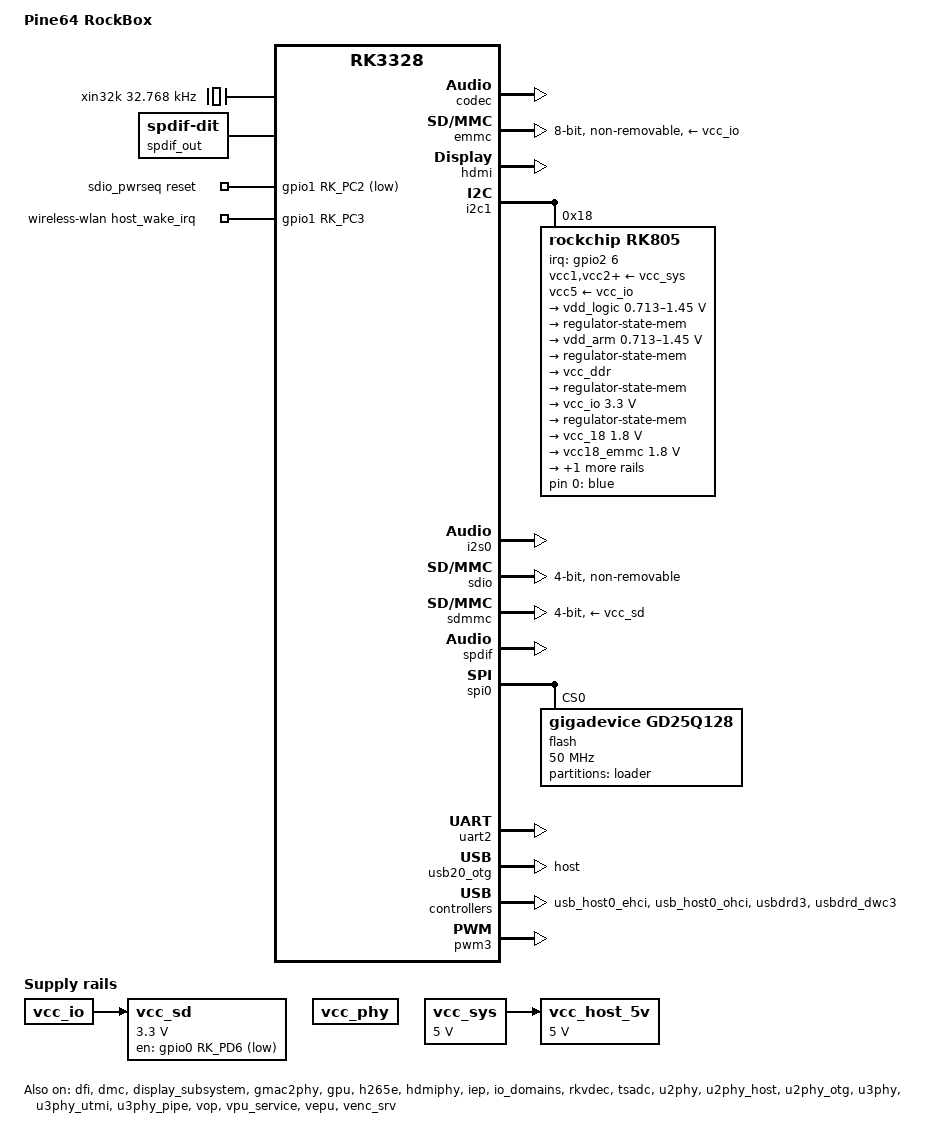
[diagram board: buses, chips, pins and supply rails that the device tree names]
/*
 * Copyright (c) 2017 Fuzhou Rockchip Electronics Co., Ltd
 *
 * This file is dual-licensed: you can use it either under the terms
 * of the GPL or the X11 license, at your option. Note that this dual
 * licensing only applies to this file, and not this project as a
 * whole.
 *
 *  a) This library is free software; you can redistribute it and/or
 *     modify it under the terms of the GNU General Public License as
 *     published by the Free Software Foundation; either version 2 of the
 *     License, or (at your option) any later version.
 *
 *     This library is distributed in the hope that it will be useful,
 *     but WITHOUT ANY WARRANTY; without even the implied warranty of
 *     MERCHANTABILITY or FITNESS FOR A PARTICULAR PURPOSE.  See the
 *     GNU General Public License for more details.
 *
 * Or, alternatively,
 *
 *  b) Permission is hereby granted, free of charge, to any person
 *     obtaining a copy of this software and associated documentation
 *     files (the "Software"), to deal in the Software without
 *     restriction, including without limitation the rights to use,
 *     copy, modify, merge, publish, distribute, sublicense, and/or
 *     sell copies of the Software, and to permit persons to whom the
 *     Software is furnished to do so, subject to the following
 *     conditions:
 *
 *     The above copyright notice and this permission notice shall be
 *     included in all copies or substantial portions of the Software.
 *
 *     THE SOFTWARE IS PROVIDED "AS IS", WITHOUT WARRANTY OF ANY KIND,
 *     EXPRESS OR IMPLIED, INCLUDING BUT NOT LIMITED TO THE WARRANTIES
 *     OF MERCHANTABILITY, FITNESS FOR A PARTICULAR PURPOSE AND
 *     NONINFRINGEMENT. IN NO EVENT SHALL THE AUTHORS OR COPYRIGHT
 *     HOLDERS BE LIABLE FOR ANY CLAIM, DAMAGES OR OTHER LIABILITY,
 *     WHETHER IN AN ACTION OF CONTRACT, TORT OR OTHERWISE, ARISING
 *     FROM, OUT OF OR IN CONNECTION WITH THE SOFTWARE OR THE USE OR
 *     OTHER DEALINGS IN THE SOFTWARE.
 */

/dts-v1/;
#include <dt-bindings/pwm/pwm.h>
#include <dt-bindings/input/input.h>
#include "rk3328.dtsi"

/ {
	model = "Pine64 RockBox";
	compatible = "pine64,rockbox", "rockchip,rk3328";

	chosen {
		bootargs = "earlyprintk=uart8250-32bit,0xff130000 swiotlb=1 kpti=0 no_console_suspend=1 usbcore.autosuspend=-1";
		stdout-path = "serial2:1500000n8";
	};

	xin32k: xin32k {
		compatible = "fixed-clock";
		clock-frequency = <32768>;
		clock-output-names = "xin32k";
		#clock-cells = <0>;
	};

	vcc_phy: vcc-phy-regulator {
		compatible = "regulator-fixed";
		regulator-name = "vcc_phy";
		regulator-always-on;
		regulator-boot-on;
	};

	vcc_sys: vcc-sys {
		compatible = "regulator-fixed";
		regulator-name = "vcc_sys";
		regulator-always-on;
		regulator-boot-on;
		regulator-min-microvolt = <5000000>;
		regulator-max-microvolt = <5000000>;
	};

	vcc_sd: sdmmc-regulator {
		compatible = "regulator-fixed";
		gpio = <&gpio0 RK_PD6 GPIO_ACTIVE_LOW>;
		pinctrl-names = "default";
		pinctrl-0 = <&sdmmc0m1_gpio>;
		regulator-name = "vcc_sd";
		regulator-always-on;
		regulator-boot-on;
		regulator-min-microvolt = <3300000>;
		regulator-max-microvolt = <3300000>;
		vin-supply = <&vcc_io>;
	};

	vcc_host_5v: vcc_host1_5v: vcc_otg_5v: vcc-host-5v-regulator {
		compatible = "regulator-fixed";
		regulator-name = "vcc_host_5v";
		regulator-min-microvolt = <5000000>;
		regulator-max-microvolt = <5000000>;
		vin-supply = <&vcc_sys>;
	};

	leds {
		compatible = "gpio-leds";

		blue {
			gpios = <&rk805 0 GPIO_ACTIVE_HIGH>;
			linux,default-trigger = "disk-activity-inverted";
			default-state = "on";
		};
	};

	hdmi-sound {
		compatible = "simple-audio-card";
		simple-audio-card,format = "i2s";
		simple-audio-card,mclk-fs = <128>;
		simple-audio-card,name = "HDMI";
		simple-audio-card,cpu {
			sound-dai = <&i2s0>;
		};
		simple-audio-card,codec {
			sound-dai = <&hdmi>;
		};
	};

	spdif-sound {
		compatible = "simple-audio-card";
		simple-audio-card,name = "SPDIF";
		simple-audio-card,cpu {
			sound-dai = <&spdif>;
		};
		simple-audio-card,codec {
			sound-dai = <&spdif_out>;
		};
	};

	spdif_out: spdif-out {
		compatible = "linux,spdif-dit";
		#sound-dai-cells = <0>;
	};

	sdio_pwrseq: sdio-pwrseq {
		compatible = "mmc-pwrseq-simple";
		pinctrl-names = "default";
		pinctrl-0 = <&wifi_enable_h>;

		/*
		 * On the module itself this is one of these (depending
		 * on the actual card populated):
		 * - SDIO_RESET_L_WL_REG_ON
		 * - PDN (power down when low)
		 */
		reset-gpios = <&gpio1 RK_PC2 GPIO_ACTIVE_LOW>;
	};

	wireless-wlan {
		compatible = "wlan-platdata";
		rockchip,grf = <&grf>;
		wifi_chip_type = "rtl8189fs";
		WIFI,host_wake_irq = <&gpio1 RK_PC3 GPIO_ACTIVE_HIGH>;
	};
};

&codec {
	#sound-dai-cells = <0>;
	status = "okay";
};

&cpu0 {
	cpu-supply = <&vdd_arm>;
};

&cpu1 {
	cpu-supply = <&vdd_arm>;
};

&cpu2 {
	cpu-supply = <&vdd_arm>;
};

&cpu3 {
	cpu-supply = <&vdd_arm>;
};

&dfi {
	status = "okay";
};

&dmc {
	center-supply = <&vdd_logic>;
	system-status-freq = <
		/*system status         freq(KHz)*/
		SYS_STATUS_NORMAL       786000
		SYS_STATUS_REBOOT       786000
		SYS_STATUS_SUSPEND      786000
		SYS_STATUS_VIDEO_1080P  786000
		SYS_STATUS_VIDEO_4K     850000
		SYS_STATUS_VIDEO_4K_10B 850000
		SYS_STATUS_PERFORMANCE  850000
		SYS_STATUS_BOOST        850000
	>;
	status = "okay";
};

&dmc_opp_table {
	// Unstable on rockbox
	opp-933000000 {
		status = "disabled";
	};
};

&display_subsystem {
	status = "okay";
};

&emmc {
	bus-width = <8>;
	cap-mmc-highspeed;
	mmc-hs200-1_8v;
	non-removable;
	pinctrl-names = "default";
	pinctrl-0 = <&emmc_clk &emmc_cmd &emmc_bus8>;
	supports-emmc;
	clocks = <&cru HCLK_EMMC>, <&cru SCLK_EMMC>,
		<&cru SCLK_EMMC_DRV>, <&cru SCLK_EMMC_SAMPLE>;	
	clock-names = "biu", "ciu", "ciu-drv", "ciu-sample";
	disable-wp;
	max-frequency = <200000000>;
	mmc-hs200-1_8v;
	num-slots = <1>;
	vmmc-supply = <&vcc_io>;
	vqmmc-supply = <&vcc18_emmc>;
	status = "okay";
};

&gmac2phy {
	phy-supply = <&vcc_phy>;
	assigned-clocks = <&cru SCLK_MAC2PHY_SRC>;
	assigned-clock-rate = <50000000>;
	assigned-clocks = <&cru SCLK_MAC2PHY>;
	assigned-clock-parents = <&cru SCLK_MAC2PHY_SRC>;
	clock_in_out = "output";
	snps,reset-active-low;
	tx_delay = <0x24>;
	rx_delay = <0x18>;
	status = "okay";
};

&gpu {
	status = "okay";
	mali-supply = <&vdd_logic>;
};

&gpu_power_model {
	// Disable thermal throttling of the GPU
	status = "disabled";
};

&h265e {
	status = "okay";
};

&h265e_mmu {
	status = "okay";
};

&hdmi {
	#sound-dai-cells = <0>;
	ddc-i2c-scl-high-time-ns = <9625>;
	ddc-i2c-scl-low-time-ns = <10000>;
	status = "okay";
};

&hdmiphy {
	status = "okay";
};

&i2c1 {
	status = "okay";

	rk805: rk805@18 {
		compatible = "rockchip,rk805";
		status = "okay";
		reg = <0x18>;
		interrupt-parent = <&gpio2>;
		interrupts = <6 IRQ_TYPE_LEVEL_LOW>;
		#clock-cells = <1>;
		clock-output-names = "rk805-clkout1", "rk805-clkout2";
		pinctrl-names = "default";
		pinctrl-0 = <&pmic_int_l>;
		rockchip,system-power-controller;
		wakeup-source;
		gpio-controller;
		#gpio-cells = <2>;

		vcc1-supply = <&vcc_sys>;
		vcc2-supply = <&vcc_sys>;
		vcc3-supply = <&vcc_sys>;
		vcc4-supply = <&vcc_sys>;
		vcc5-supply = <&vcc_io>;
		vcc6-supply = <&vcc_sys>;

		rtc {
			status = "okay";
		};

		pwrkey {
			status = "okay";
		};

		gpio {
			status = "okay";
		};

		regulators {
			compatible = "rk805-regulator";
			status = "okay";
			#address-cells = <1>;
			#size-cells = <0>;

			vdd_logic: RK805_DCDC1@0 {
				regulator-compatible = "RK805_DCDC1";
				regulator-name = "vdd_logic";
				regulator-min-microvolt = <712500>;
				regulator-max-microvolt = <1450000>;
				regulator-initial-mode = <0x1>;
				regulator-ramp-delay = <12500>;
				regulator-always-on;
				regulator-boot-on;
				regulator-state-mem {
					regulator-mode = <0x2>;
					regulator-on-in-suspend;
					regulator-suspend-microvolt = <1000000>;
				};
			};

			vdd_arm: RK805_DCDC2@1 {
				regulator-compatible = "RK805_DCDC2";
				regulator-name = "vdd_arm";
				regulator-init-microvolt = <1225000>;
				regulator-min-microvolt = <712500>;
				regulator-max-microvolt = <1450000>;
				regulator-initial-mode = <0x1>;
				regulator-ramp-delay = <12500>;
				regulator-always-on;
				regulator-boot-on;
				regulator-state-mem {
					regulator-mode = <0x2>;
					regulator-on-in-suspend;
					regulator-suspend-microvolt = <950000>;
				};
			};

			vcc_ddr: RK805_DCDC3@2 {
				regulator-compatible = "RK805_DCDC3";
				regulator-name = "vcc_ddr";
				regulator-initial-mode = <0x1>;
				regulator-always-on;
				regulator-boot-on;
				regulator-state-mem {
					regulator-mode = <0x2>;
					regulator-on-in-suspend;
				};
			};

			vcc_io: RK805_DCDC4 {
				regulator-compatible = "RK805_DCDC4";
				regulator-name = "vcc_io";
				regulator-min-microvolt = <3300000>;
				regulator-max-microvolt = <3300000>;
				regulator-initial-mode = <0x1>;
				regulator-always-on;
				regulator-boot-on;
				regulator-state-mem {
					regulator-mode = <0x2>;
					regulator-on-in-suspend;
					regulator-suspend-microvolt = <3300000>;
				};
			};

			vcc_18: RK805_LDO1@4 {
				regulator-compatible = "RK805_LDO1";
				regulator-name = "vcc_18";
				regulator-min-microvolt = <1800000>;
				regulator-max-microvolt = <1800000>;
				regulator-always-on;
				regulator-boot-on;
				regulator-state-mem {
					regulator-on-in-suspend;
					regulator-suspend-microvolt = <1800000>;
				};
			};

			vcc18_emmc: RK805_LDO2@5 {
				regulator-compatible = "RK805_LDO2";
				regulator-name = "vcc18_emmc";
				regulator-min-microvolt = <1800000>;
				regulator-max-microvolt = <1800000>;
				regulator-always-on;
				regulator-boot-on;
				regulator-state-mem {
					regulator-on-in-suspend;
					regulator-suspend-microvolt = <1800000>;
				};
			};

			vdd_10: RK805_LDO3@6 {
				regulator-compatible = "RK805_LDO3";
				regulator-name = "vdd_10";
				regulator-min-microvolt = <1000000>;
				regulator-max-microvolt = <1000000>;
				regulator-always-on;
				regulator-boot-on;
				regulator-state-mem {
					regulator-on-in-suspend;
					regulator-suspend-microvolt = <1000000>;
				};
			};
		};
	};
};

&i2s0 {
	#sound-dai-cells = <0>;
	rockchip,bclk-fs = <128>;
	status = "okay";
};

&iep {
	status = "okay";
};

&iep_mmu {
	status = "okay";
};

&io_domains {
	status = "okay";

	vccio1-supply = <&vcc_io>;
	vccio2-supply = <&vcc18_emmc>;
	vccio3-supply = <&vcc_io>;
	vccio4-supply = <&vcc_18>;
	vccio5-supply = <&vcc_io>;
	vccio6-supply = <&vcc_io>;
	pmuio-supply = <&vcc_io>;
};

&pinctrl {
	ir {
		ir_int: ir-int {
			rockchip,pins = <2 RK_PA2 RK_FUNC_GPIO &pcfg_pull_none>;
		};
	};

	pmic {
		pmic_int_l: pmic-int-l {
			rockchip,pins = <2 RK_PA6 RK_FUNC_GPIO &pcfg_pull_up>;
		};
	};

	sdio-pwrseq {
		wifi_enable_h: wifi-enable-h {
			rockchip,pins = <1 RK_PC2 RK_FUNC_GPIO &pcfg_pull_none_4ma>,
				<1 RK_PC3 RK_FUNC_GPIO &pcfg_pull_none_4ma>;
		};
	};
};

&rkvdec {
	status = "okay";
	vcodec-supply = <&vdd_logic>;
};

&rkvdec_mmu {
	status = "okay";
};

&sdio {
	bus-width = <4>;
	cap-sd-highspeed;
	cap-sdio-irq;
	disable-wp;
	keep-power-in-suspend;
	mmc-pwrseq = <&sdio_pwrseq>;
	non-removable;
	num-slots = <1>;
	pinctrl-names = "default";
	pinctrl-0 = <&sdmmc1_bus4 &sdmmc1_cmd &sdmmc1_clk>;
	supports-sdio;
	status = "okay";
};

&sdmmc {
	bus-width = <4>;
	cap-mmc-highspeed;
	cap-sd-highspeed;
	disable-wp;
	max-frequency = <150000000>;
	num-slots = <1>;
	pinctrl-names = "default";
	pinctrl-0 = <&sdmmc0_clk &sdmmc0_cmd &sdmmc0_dectn &sdmmc0_bus4>;
	supports-sd;
	vmmc-supply = <&vcc_sd>;
	vqmmc-supply = <&vcc_sd>;
	status = "okay";
};

&spdif {
	#sound-dai-cells = <0>;
	pinctrl-names = "default";
	pinctrl-0 = <&spdifm0_tx>;
	status = "okay";
};

&spi0 {
	status = "okay";

	flash@0 {
		compatible = "gigadevice,gd25q128", "jedec,spi-nor";
		#address-cells = <1>;
		#size-cells = <1>;
		reg = <0>;
		m25p,fast-read;
		/* The max SCLK of the flash 104/80 MHZ  */
		spi-max-frequency = <50000000>;

		partitions {
			compatible = "fixed-partitions";
			#address-cells = <1>;
			#size-cells = <1>;

			loader@8000 {
				label = "loader";
				reg = <0x8000 0x3F0000>;
			};
		};
	};
};

&threshold {
	temperature = <80000>;
};

&target {
	temperature = <90000>;
};

&soc_crit {
	temperature = <95000>;
};

&tsadc {
	rockchip,hw-tshut-mode = <0>;
	rockchip,hw-tshut-polarity = <0>;
	rockchip,hw-tshut-temp = <110000>;
	status = "okay";
};

&uart2 {
	status = "okay";
};

&u2phy {
	otg-vbus-gpios = <&gpio0 RK_PD3 GPIO_ACTIVE_HIGH>;
	status = "okay";
};

&u2phy_host {
	status = "okay";
};

&u2phy_otg {
	status = "okay";
};

&u3phy {
	vbus-supply = <&vcc_host_5v>;
	vbus-drv-gpios = <&gpio0 RK_PA0 GPIO_ACTIVE_HIGH>;
	status = "okay";
};

&u3phy_utmi {
	status = "okay";
};

&u3phy_pipe {
	status = "okay";
};

&usb20_otg {
	dr_mode = "host";
	status = "okay";
};

&usb_host0_ehci {
	status = "okay";
};

&usb_host0_ohci {
	status = "okay";
};

&usbdrd3 {
	status = "okay";
};

&usbdrd_dwc3 {
	status = "okay";
};

&vop {
	status = "okay";
};

&vop_mmu {
	status = "okay";
};

&vpu_service {
	status = "okay";
};

&vpu_mmu {
	status = "okay";
};

&vepu {
	status = "okay";
};

&vepu_mmu {
	status = "okay";
};

&venc_srv {
	status = "okay";
};

&pwm3 {
	status = "okay";
	pinctrl-names = "default";
	pinctrl-0 = <&pwmir_pin>;
	compatible = "rockchip,remotectl-pwm";
	remote_pwm_id = <3>;
	handle_cpu_id = <1>;
	remote_support_psci = <1>;

	ir_key1 {
		rockchip,usercode = <0x4040>;
		rockchip,key_table =
                         <0xba   KEY_BACK>,
                         <0xf4   KEY_UP>,
                         <0xf1   KEY_DOWN>,
                         <0xef   KEY_LEFT>,
                         <0xee   KEY_RIGHT>,
                         <0xe5   KEY_HOME>,
                         <0xe7   KEY_VOLUMEUP>,
                         <0xe8   KEY_VOLUMEDOWN>,
                         <0xb2   KEY_POWER>,
                         <0xf5   KEY_MUTE>,
                         <0xe2   KEY_MENU>,
                         <0xf3   KEY_BACKSPACE>,
                         <0xf2   KEY_ENTER>,
                         <0xff   KEY_0>,
                         <0xfe   KEY_1>,
                         <0xfd   KEY_2>,
                         <0xfc   KEY_3>,
                         <0xfb   KEY_4>,
                         <0xfa   KEY_5>,
                         <0xf9   KEY_6>,
                         <0xf8   KEY_7>,
                         <0xf7   KEY_8>,
                         <0xf6   KEY_9>,
                         <0xb8   388>,
                         <0xe0   KEY_SEARCH>;
	};

	ir_key2 {
		rockchip,usercode = <0xff00>;
		rockchip,key_table =
			<0xf9	KEY_HOME>,
			<0xbf	KEY_BACK>,
			<0xfb	KEY_MENU>,
			<0xaa	KEY_REPLY>,
			<0xb9	KEY_UP>,
			<0xe9	KEY_DOWN>,
			<0xb8	KEY_LEFT>,
			<0xea	KEY_RIGHT>,
			<0xeb	KEY_VOLUMEDOWN>,
			<0xef	KEY_VOLUMEUP>,
			<0xf7	KEY_MUTE>,
			<0xe7	KEY_POWER>,
			<0xfc	KEY_POWER>,
			<0xa9	KEY_VOLUMEDOWN>,
			<0xa8	KEY_PLAYPAUSE>,
			<0xe0	KEY_VOLUMEDOWN>,
			<0xa5	KEY_VOLUMEDOWN>,
			<0xab	183>,
			<0xb7	388>,
			<0xe8	388>,
			<0xf8	184>,
			<0xaf	185>,
			<0xed	KEY_VOLUMEDOWN>,
			<0xee	186>,
			<0xb3	KEY_VOLUMEDOWN>,
			<0xf1	KEY_VOLUMEDOWN>,
			<0xf2	KEY_VOLUMEDOWN>,
			<0xf3	KEY_SEARCH>,
			<0xb4	KEY_VOLUMEDOWN>,
			<0xa4	KEY_SETUP>,
			<0xbe	KEY_SEARCH>;
	};

	ir_key3 {
		rockchip,usercode = <0x1dcc>;
		rockchip,key_table =
			<0xee	KEY_REPLY>,
			<0xf0	KEY_BACK>,
			<0xf8	KEY_UP>,
			<0xbb	KEY_DOWN>,
			<0xef	KEY_LEFT>,
			<0xed	KEY_RIGHT>,
			<0xfc	KEY_HOME>,
			<0xf1	KEY_VOLUMEUP>,
			<0xfd	KEY_VOLUMEDOWN>,
			<0xb7	KEY_SEARCH>,
			<0xff	KEY_POWER>,
			<0xf3	KEY_MUTE>,
			<0xbf	KEY_MENU>,
			<0xf9	0x191>,
			<0xf5	0x192>,
			<0xb3	388>,
			<0xbe	KEY_1>,
			<0xba	KEY_2>,
			<0xb2	KEY_3>,
			<0xbd	KEY_4>,
			<0xf9	KEY_5>,
			<0xb1	KEY_6>,
			<0xfc	KEY_7>,
			<0xf8	KEY_8>,
			<0xb0	KEY_9>,
			<0xb6	KEY_0>,
			<0xb5	KEY_BACKSPACE>;
	};
};

&rockchip_suspend {
	status = "okay";
	rockchip,virtual-poweroff = <1>;
};
